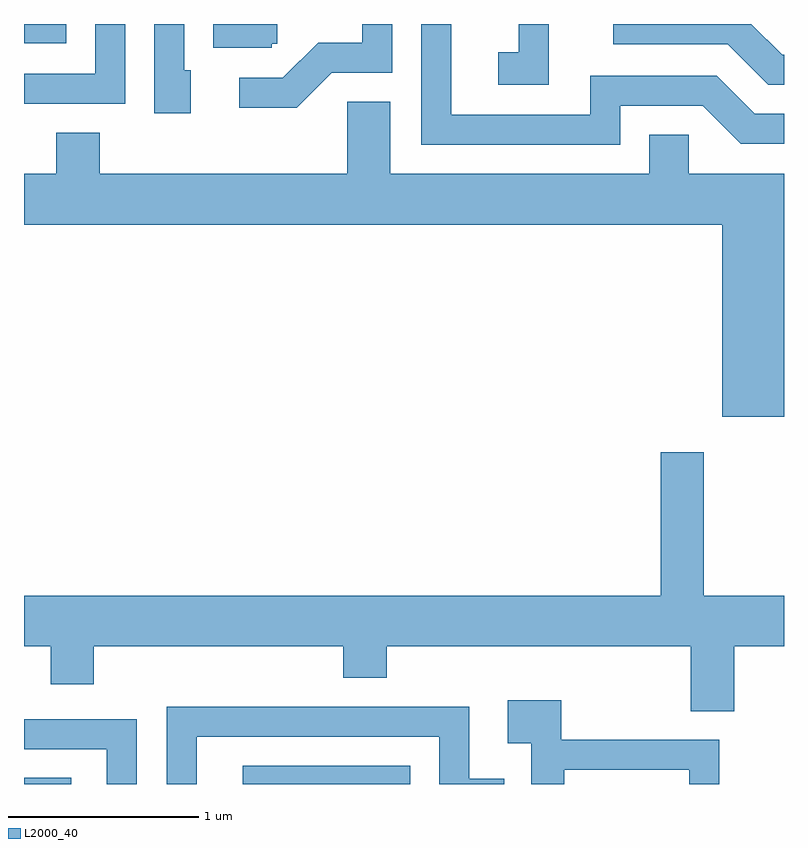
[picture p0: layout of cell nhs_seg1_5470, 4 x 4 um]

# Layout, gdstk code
import gdstk
lib = gdstk.Library(unit=1e-6, precision=1e-09)
def R(c, l, rs):  # rectangles x0, y0, x1, y1
    for r in rs: c.add(gdstk.rectangle(r[:2], r[2:], *l))
def P(c, l, *ps):  # polygons
    for p in ps: c.add(gdstk.Polygon(p, *l))
L2000_40 = (2000, 40)

nhs_seg1_5470 = lib.new_cell('nhs_seg1_5470')
R(nhs_seg1_5470, L2000_40, [(349.611,927.712,349.859,927.744), (350.763,927.712,351.644,927.809), (349.611,931.611,349.834,931.712)])
P(nhs_seg1_5470, L2000_40, [(352.749,931.281),(353.184,931.281),(353.384,931.081),(353.611,931.081),(353.611,931.239),(353.457,931.239),(353.257,931.439),(352.591,931.439),(352.591,931.234),(351.859,931.234),(351.859,931.712),(351.701,931.712),(351.701,931.076),(352.749,931.076)],
  [(350.489,931.469),(350.454,931.469),(350.454,931.712),(350.296,931.712),(350.296,931.241),(350.489,931.241)],
  [(350.914,931.607),(350.944,931.607),(350.944,931.712),(350.606,931.712),(350.606,931.586),(350.914,931.586)],
  [(351.232,931.456),(351.549,931.456),(351.549,931.712),(351.391,931.712),(351.391,931.614),(351.159,931.614),(350.974,931.429),(350.743,931.429),(350.743,931.271),(351.047,931.271)],
  [(353.611,931.549),(353.602,931.549),(353.439,931.712),(352.711,931.712),(352.711,931.606),(353.314,931.606),(353.529,931.391),(353.611,931.391)],
  [(350.144,931.712),(349.986,931.712),(349.986,931.449),(349.611,931.449),(349.611,931.291),(350.144,931.291)],
  [(352.374,931.712),(352.216,931.712),(352.216,931.564),(352.106,931.564),(352.106,931.391),(352.374,931.391)],
  [(353.611,930.924),(353.109,930.924),(353.109,931.129),(352.901,931.129),(352.901,930.924),(351.539,930.924),(351.539,931.304),(351.311,931.304),(351.311,930.924),(350.009,930.924),(350.009,931.139),(349.781,931.139),(349.781,930.924),(349.611,930.924),(349.611,930.656),(353.286,930.656),(353.286,929.646),(353.611,929.646)],
  [(353.349,928.436),(353.611,928.436),(353.611,928.704),(353.189,928.704),(353.189,929.459),(352.961,929.459),(352.961,928.704),(349.611,928.704),(349.611,928.436),(349.751,928.436),(349.751,928.236),(349.979,928.236),(349.979,928.436),(351.291,928.436),(351.291,928.271),(351.519,928.271),(351.519,928.436),(353.121,928.436),(353.121,928.096),(353.349,928.096)],
  [(352.454,927.786),(353.111,927.786),(353.111,927.712),(353.269,927.712),(353.269,927.944),(352.439,927.944),(352.439,928.154),(352.156,928.154),(352.156,927.926),(352.281,927.926),(352.281,927.712),(352.454,927.712)],
  [(350.519,927.961),(351.796,927.961),(351.796,927.712),(352.138,927.712),(352.138,927.739),(351.954,927.739),(351.954,928.119),(350.361,928.119),(350.361,927.712),(350.519,927.712)],
  [(350.204,928.054),(349.611,928.054),(349.611,927.896),(350.046,927.896),(350.046,927.712),(350.204,927.712)])

lib.write_gds('nhs_seg1_5470.gds')
